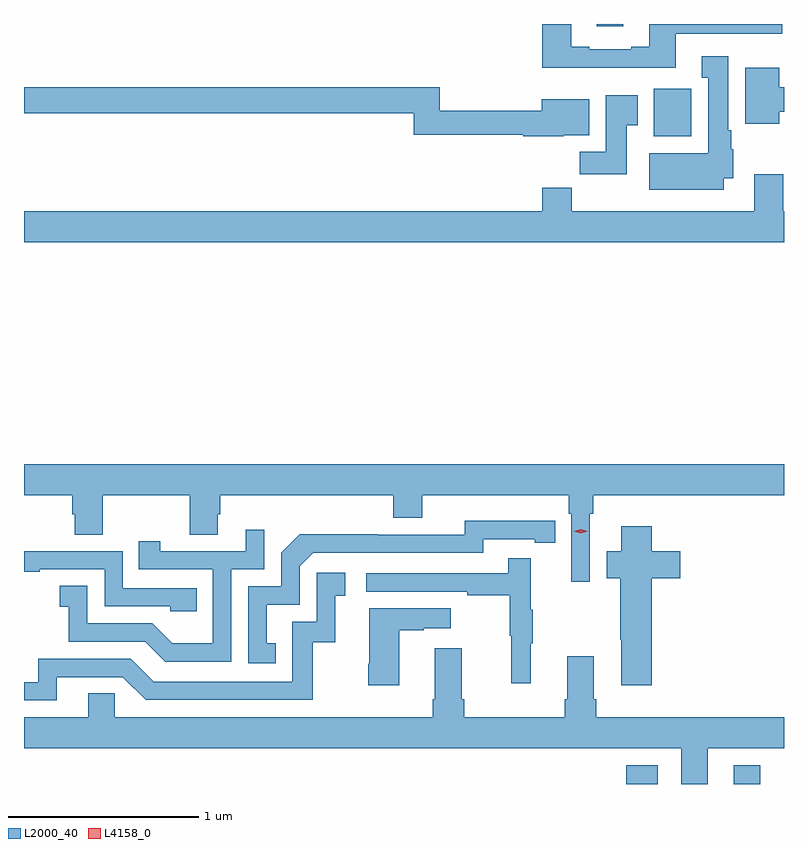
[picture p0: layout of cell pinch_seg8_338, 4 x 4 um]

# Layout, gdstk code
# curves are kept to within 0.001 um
import gdstk
lib = gdstk.Library(unit=1e-6, precision=1e-09)
def R(c, l, rs):  # rectangles x0, y0, x1, y1
    for r in rs: c.add(gdstk.rectangle(r[:2], r[2:], *l))
def P(c, l, *ps):  # polygons
    for p in ps: c.add(gdstk.Polygon(p, *l))
L2000_40 = (2000, 40)
L4158_0 = (4158, 0)

pinch_seg8_338 = lib.new_cell('pinch_seg8_338')
R(pinch_seg8_338, L2000_40, [(398.465,1136.293,398.629,1136.392), (399.029,1136.293,399.169,1136.392), (398.609,1139.702,398.805,1139.953), (398.309,1140.282,398.449,1140.293)])
P(pinch_seg8_338, L2000_40, [(398.725,1140.243),(399.286,1140.243),(399.286,1140.293),(398.585,1140.293),(398.585,1140.172),(398.489,1140.172),(398.489,1140.159),(398.269,1140.159),(398.269,1140.172),(398.173,1140.172),(398.173,1140.293),(398.021,1140.293),(398.021,1140.062),(398.725,1140.062)],
  [(398.977,1139.48),(399.028,1139.48),(399.028,1139.634),(399.016,1139.634),(399.016,1139.734),(399.001,1139.734),(399.001,1140.124),(398.861,1140.124),(398.861,1140.011),(398.894,1140.011),(398.894,1139.614),(398.585,1139.614),(398.585,1139.42),(398.977,1139.42)],
  [(399.268,1139.832),(399.294,1139.832),(399.294,1139.96),(399.268,1139.96),(399.268,1140.064),(399.089,1140.064),(399.089,1139.768),(399.268,1139.768)],
  [(398.136,1139.708),(398.269,1139.708),(398.269,1139.896),(398.018,1139.896),(398.018,1139.837),(397.481,1139.837),(397.481,1139.96),(395.294,1139.96),(395.294,1139.824),(397.345,1139.824),(397.345,1139.709),(397.922,1139.709),(397.922,1139.702),(398.136,1139.702)],
  [(398.467,1139.761),(398.524,1139.761),(398.524,1139.917),(398.357,1139.917),(398.357,1139.62),(398.218,1139.62),(398.218,1139.502),(398.467,1139.502)],
  [(399.294,1139.308),(399.29,1139.308),(399.29,1139.503),(399.137,1139.503),(399.137,1139.308),(398.177,1139.308),(398.177,1139.432),(398.021,1139.432),(398.021,1139.308),(395.294,1139.308),(395.294,1139.144),(399.294,1139.144)],
  [(395.294,1137.812),(395.549,1137.812),(395.549,1137.714),(395.561,1137.714),(395.561,1137.604),(395.709,1137.604),(395.709,1137.812),(396.166,1137.812),(396.166,1137.604),(396.313,1137.604),(396.313,1137.714),(396.326,1137.714),(396.326,1137.812),(397.238,1137.812),(397.238,1137.695),(397.39,1137.695),(397.39,1137.812),(398.162,1137.812),(398.162,1137.716),(398.175,1137.716),(398.175,1137.357),(398.271,1137.357),(398.271,1137.716),(398.291,1137.716),(398.291,1137.812),(399.294,1137.812),(399.294,1137.976),(395.294,1137.976)],
  [(396.62,1137.033),(396.571,1137.033),(396.571,1137.237),(396.744,1137.237),(396.744,1137.438),(396.816,1137.51),(397.71,1137.51),(397.71,1137.582),(397.982,1137.582),(397.982,1137.562),(398.09,1137.562),(398.09,1137.678),(397.614,1137.679),(397.614,1137.606),(397.154,1137.606),(397.154,1137.608),(396.746,1137.608),(396.648,1137.51),(396.648,1137.333),(396.474,1137.333),(396.474,1136.928),(396.62,1136.928)],
  [(398.597,1137.377),(398.749,1137.377),(398.749,1137.519),(398.597,1137.519),(398.597,1137.649),(398.438,1137.649),(398.438,1137.519),(398.36,1137.519),(398.36,1137.377),(398.431,1137.377),(398.431,1137.052),(398.438,1137.052),(398.438,1136.814),(398.597,1136.814)],
  [(396.384,1137.423),(396.558,1137.423),(396.558,1137.631),(396.461,1137.631),(396.461,1137.519),(396.01,1137.519),(396.01,1137.571),(395.899,1137.571),(395.899,1137.423),(396.288,1137.423),(396.288,1137.034),(396.074,1137.034),(395.97,1137.138),(395.628,1137.138),(395.628,1137.337),(395.481,1137.337),(395.481,1137.227),(395.53,1137.227),(395.53,1137.042),(395.933,1137.042),(396.038,1136.937),(396.384,1136.937)],
  [(396.203,1137.324),(395.814,1137.324),(395.814,1137.519),(395.294,1137.519),(395.294,1137.411),(395.377,1137.411),(395.377,1137.423),(395.718,1137.423),(395.718,1137.228),(396.063,1137.228),(396.063,1137.201),(396.203,1137.201)],
  [(397.961,1137.035),(397.972,1137.035),(397.972,1137.209),(397.961,1137.209),(397.961,1137.481),(397.843,1137.481),(397.843,1137.402),(397.095,1137.402),(397.095,1137.306),(397.627,1137.306),(397.627,1137.286),(397.851,1137.286),(397.851,1137.072),(397.858,1137.072),(397.858,1136.823),(397.961,1136.823)],
  [(395.467,1136.856),(395.814,1136.856),(395.934,1136.736),(396.814,1136.736),(396.814,1137.039),(396.932,1137.039),(396.932,1137.285),(396.985,1137.285),(396.985,1137.406),(396.834,1137.406),(396.834,1137.147),(396.705,1137.147),(396.705,1136.832),(395.976,1136.832),(395.856,1136.952),(395.37,1136.952),(395.37,1136.829),(395.294,1136.829),(395.294,1136.733),(395.467,1136.733)],
  [(397.27,1137.103),(397.397,1137.103),(397.397,1137.113),(397.54,1137.113),(397.54,1137.217),(397.112,1137.217),(397.112,1136.926),(397.105,1136.926),(397.105,1136.814),(397.27,1136.814)],
  [(398.893,1136.48),(399.294,1136.48),(399.294,1136.644),(398.306,1136.644),(398.306,1136.74),(398.293,1136.74),(398.293,1136.965),(398.153,1136.965),(398.153,1136.74),(398.141,1136.74),(398.141,1136.644),(397.61,1136.644),(397.61,1136.74),(397.597,1136.74),(397.597,1137.007),(397.457,1137.007),(397.457,1136.74),(397.445,1136.74),(397.445,1136.644),(395.772,1136.644),(395.772,1136.771),(395.633,1136.771),(395.633,1136.644),(395.294,1136.644),(395.294,1136.48),(398.753,1136.48),(398.753,1136.293),(398.893,1136.293)])
P(pinch_seg8_338, L4158_0, [(398.224,1137.613),(398.188,1137.623),(398.188,1137.623),(398.188,1137.624),(398.224,1137.633),(398.26,1137.624),(398.261,1137.623),(398.26,1137.623)])

lib.write_gds('pinch_seg8_338.gds')
